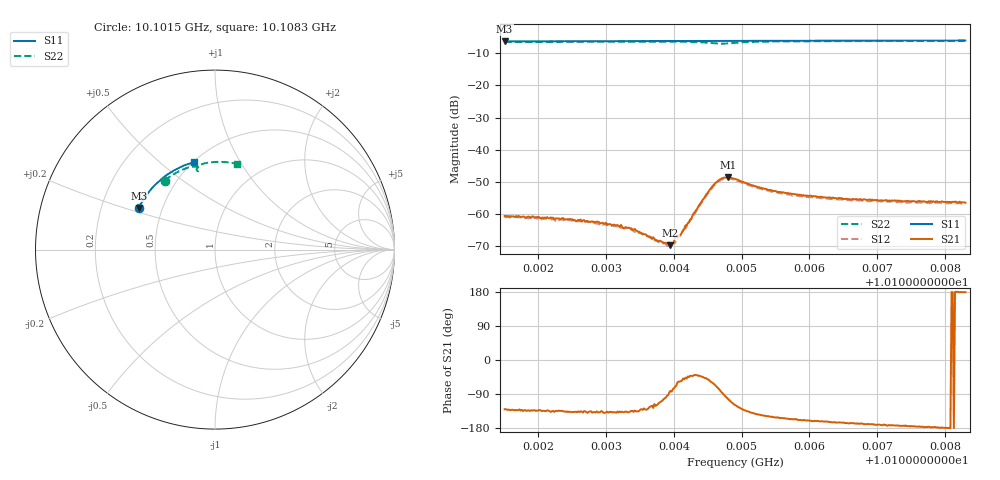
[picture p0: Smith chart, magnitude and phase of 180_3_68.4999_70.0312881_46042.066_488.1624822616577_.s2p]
#  HZ  S  RI  R  50.00
! Rohde & Schwarz Vector Network Analyzer
! Rohde-Schwarz,ZNB20-2Port,1311601062101988,3.16
! Created: UTC 3/20/2024, 4:56:41 PM
! freq[Hz]  re:S11  im:S11  re:S21  im:S21  re:S12  im:S12  re:S22  im:S22
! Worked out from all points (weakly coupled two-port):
!   401 points, 10.1015 GHz to 10.1083 GHz, reference 50 ohm
!   highest |S21| = -48.55 dB at 10.1048 GHz (marker M1); lowest = -69.6 dB at 10.10395 GHz (marker M2)
!   lowest |S11| = -6.3 dB at 10.1015 GHz (marker M3), VSWR 2.87, Z = 18.4 + j11.1 ohm
!   |S11| at or under -10 dB: nowhere
!   |S22| runs from -7.0 to -6.1 dB; largest |S21 - S12| = 0.00039
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1.0101503e10  -0.4246 0.2315  -0.000604 -0.000717  -0.000532 -0.000739  -0.2807 0.3845
1.0102642e10  -0.39 0.2917  -0.000557 -0.000526  -0.000522 -0.000577  -0.2192 0.4263
1.0102863e10  -0.3825 0.3027  -0.00055 -0.000537  -0.000476 -0.00053  -0.2064 0.4333
1.0103339e10  -0.365 0.3257  -0.000457 -0.000417  -0.000396 -0.000434  -0.1773 0.4471
1.0103781e10  -0.3474 0.3462  -0.000152 -0.000355  -0.000139 -0.000344  -0.148 0.4576
1.01039e10  -0.3425 0.3515  -2.51e-05 -0.000347  1.88e-06 -0.000324  -0.1392 0.4597
1.0103951e10  -0.3404 0.3538  4.91e-05 -0.000327  7.47e-05 -0.00033  -0.1354 0.4606
1.0103968e10  -0.3398 0.3545  3.93e-05 -0.000336  9.5e-05 -0.00032  -0.1342 0.4608
1.0104019e10  -0.3376 0.3568  0.000142 -0.00042  0.000132 -0.000328  -0.1302 0.4616
1.0104104e10  -0.3339 0.3604  0.000269 -0.000403  0.000293 -0.000377  -0.1234 0.4624
1.0104189e10  -0.3302 0.364  0.00043 -0.000496  0.000463 -0.000429  -0.1163 0.4628
1.0104444e10  -0.319 0.3747  0.00121 -0.00128  0.0013 -0.00112  -0.0939 0.4568
1.010458e10  -0.3131 0.3803  0.00135 -0.00246  0.00145 -0.00224  -0.0871 0.4455
1.0104699e10  -0.3076 0.3849  0.000372 -0.00351  0.000658 -0.00333  -0.0925 0.4371
1.0104801e10  -0.3031 0.389  -0.000838 -0.00364  -0.000505 -0.00356  -0.1003 0.44
1.0104903e10  -0.2983 0.3927  -0.00168 -0.00309  -0.00135 -0.00313  -0.1022 0.4492
1.0105192e10  -0.2847 0.4041  -0.00214 -0.0017  -0.0019 -0.00182  -0.0863 0.4689
1.0105447e10  -0.2723 0.4132  -0.00202 -0.00119  -0.00182 -0.00129  -0.0678 0.4772
1.0106042e10  -0.2423 0.4331  -0.00178 -0.000604  -0.00166 -0.000766  -0.0263 0.486
1.0106586e10  -0.2138 0.4493  -0.00167 -0.000379  -0.00157 -0.000562  0.01 0.4887
1.0107181e10  -0.1812 0.4648  -0.00162 -0.000237  -0.0015 -0.000351  0.049 0.4881
1.0108303e10  -0.117 0.4871  -0.00151 2.35e-05  -0.00146 -0.000117  0.1203 0.4782
